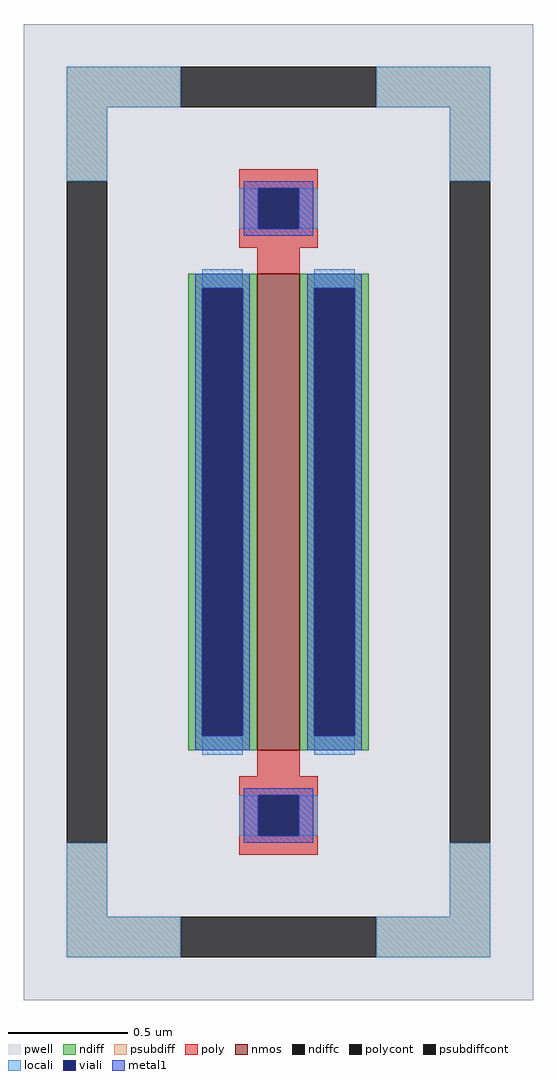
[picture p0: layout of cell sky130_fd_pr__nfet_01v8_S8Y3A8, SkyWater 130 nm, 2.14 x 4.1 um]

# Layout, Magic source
magic
tech sky130A
magscale 1 2
<< pwell >>
rect -214 -410 214 410
<< nmos >>
rect -18 -200 18 200
<< ndiff >>
rect -76 188 -18 200
rect -76 -188 -64 188
rect -30 -188 -18 188
rect -76 -200 -18 -188
rect 18 188 76 200
rect 18 -188 30 188
rect 64 -188 76 188
rect 18 -200 76 -188
<< ndiffc >>
rect -64 -188 -30 188
rect 30 -188 64 188
<< psubdiff >>
rect -178 340 -82 374
rect 82 340 178 374
rect -178 278 -144 340
rect 144 278 178 340
rect -178 -340 -144 -278
rect 144 -340 178 -278
rect -178 -374 -82 -340
rect 82 -374 178 -340
<< psubdiffcont >>
rect -82 340 82 374
rect -178 -278 -144 278
rect 144 -278 178 278
rect -82 -374 82 -340
<< poly >>
rect -33 272 33 288
rect -33 238 -17 272
rect 17 238 33 272
rect -33 222 33 238
rect -18 200 18 222
rect -18 -222 18 -200
rect -33 -238 33 -222
rect -33 -272 -17 -238
rect 17 -272 33 -238
rect -33 -288 33 -272
<< polycont >>
rect -17 238 17 272
rect -17 -272 17 -238
<< locali >>
rect -178 340 -82 374
rect 82 340 178 374
rect -178 278 -144 340
rect 144 278 178 340
rect -33 238 -17 272
rect 17 238 33 272
rect -64 188 -30 204
rect -64 -204 -30 -188
rect 30 188 64 204
rect 30 -204 64 -188
rect -33 -272 -17 -238
rect 17 -272 33 -238
rect -178 -340 -144 -278
rect 144 -340 178 -278
rect -178 -374 -82 -340
rect 82 -374 178 -340
<< viali >>
rect -17 238 17 272
rect -64 -188 -30 188
rect 30 -188 64 188
rect -17 -272 17 -238
<< metal1 >>
rect -29 272 29 278
rect -29 238 -17 272
rect 17 238 29 272
rect -29 232 29 238
rect -70 188 -24 200
rect -70 -188 -64 188
rect -30 -188 -24 188
rect -70 -200 -24 -188
rect 24 188 70 200
rect 24 -188 30 188
rect 64 -188 70 188
rect 24 -200 70 -188
rect -29 -238 29 -232
rect -29 -272 -17 -238
rect 17 -272 29 -238
rect -29 -278 29 -272
<< properties >>
string FIXED_BBOX -161 -357 161 357
string gencell sky130_fd_pr__nfet_01v8
string library sky130
string parameters w 2.0 l 0.18 m 1 nf 1 diffcov 100 polycov 100 guard 1 glc 1 grc 1 gtc 1 gbc 1 tbcov 100 rlcov 100 topc 1 botc 1 poverlap 0 doverlap 1 lmin 0.15 wmin 0.42 compatible {sky130_fd_pr__nfet_01v8 sky130_fd_pr__nfet_01v8_lvt  sky130_fd_bs_flash__special_sonosfet_star  sky130_fd_pr__nfet_g5v0d10v5 sky130_fd_pr__nfet_05v0_nvt  sky130_fd_pr__nfet_03v3_nvt} full_metal 1 viasrc 100 viadrn 100 viagate 100 viagb 0 viagr 0 viagl 0 viagt 0
<< end >>
